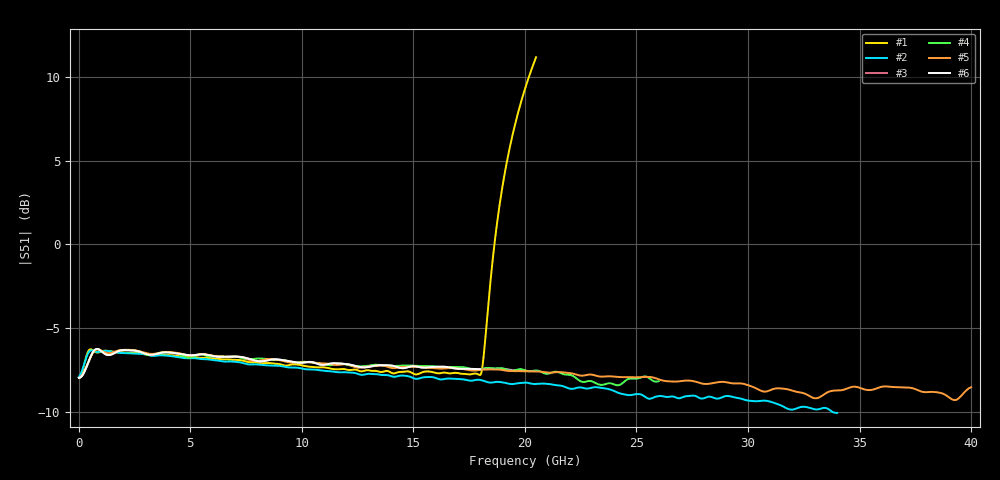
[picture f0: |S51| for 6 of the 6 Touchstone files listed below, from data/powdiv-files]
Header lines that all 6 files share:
! MARKI MICROWAVE INC.
! Email:  info@markimicrowave.com  Phone:  408-778-4200
! Port Configuration:	PORT 1: COMMON
!  PORT 2: Output 1
!  Port 3: Output 2
!  Port 4: Output 3
!  Port 5: Output 4
! S5P File: Measurements: Mag<S11> Ang<S11> Mag<S12> Ang<S12> Mag<S13> Ang<S13> Mag<S14> Ang<S14> ! row 1
!  Mag<S15> Ang<S15>
!  Mag<S21> Ang<S21> Mag<S22> Ang<S22> Mag<S23> Ang<S23> Mag<S24> Ang<S24> ! row 2
!  Mag<S25> Ang<S25>
!  Mag<S31> Ang<S31> Mag<S32> Ang<S32> Mag<S33> Ang<S33> Mag<S34> Ang<S34> ! row 3
!  Mag<S35> Ang<S35>
!  Mag<S41> Ang<S41> Mag<S42> Ang<S42> Mag<S43> Ang<S43> Mag<S44> Ang<S44> ! row 4
!  Mag<S45> Ang<S45>
!  Mag<S51> Ang<S51> Mag<S52> Ang<S52> Mag<S53> Ang<S53> Mag<S54> Ang<S54> ! row 5
!  Mag<S55> Ang<S55>
# GHz S DB R 50
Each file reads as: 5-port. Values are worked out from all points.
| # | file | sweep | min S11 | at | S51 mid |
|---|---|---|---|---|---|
| 1 | PD4-0R518.s5p | 10 MHz to 20.5 GHz | -41.8 dB | 15.71 GHz | -7.3 dB at 10.27 GHz |
| 2 | PD4-0R532.s5p | 10 MHz to 34 GHz | -36.9 dB | 3.84 GHz | -8.0 dB at 17.03 GHz |
| 3 | PD4-0120.s5p | 10 MHz to 20 GHz | -38.1 dB | 16.48 GHz | -7.1 dB at 10.01 GHz |
| 4 | PD4-0126.s5p | 10 MHz to 26 GHz | -34.1 dB | 15.74 GHz | -7.2 dB at 13.01 GHz |
| 5 | PD4-0140.s5p | 10 MHz to 40 GHz | -35.8 dB | 8.71 GHz | -7.6 dB at 20.01 GHz |
| 6 | PD4-0218.s5p | 10 MHz to 18 GHz | -38.1 dB | 16.48 GHz | -6.9 dB at 9.01 GHz |
